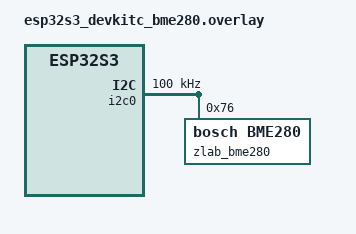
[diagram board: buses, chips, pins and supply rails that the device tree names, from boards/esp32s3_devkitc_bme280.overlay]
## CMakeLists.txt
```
# SPDX-License-Identifier: Apache-2.0
cmake_minimum_required(VERSION 3.20.0)
find_package(Zephyr REQUIRED HINTS $ENV{ZEPHYR_BASE})
project(zlab_zephyr_health_node)

target_include_directories(app PRIVATE include)
target_sources(app PRIVATE
  src/main.c
  src/anomaly_detector.c
)
```

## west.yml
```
manifest:
  remotes:
    - name: zephyrproject
      url-base: https://github.com/zephyrproject-rtos
  projects:
    - name: zephyr
      remote: zephyrproject
      revision: v4.4.2
      import: true
  self:
    path: app
```

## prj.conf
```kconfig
CONFIG_ASSERT=y
CONFIG_LOG=y
CONFIG_LOG_MODE_DEFERRED=y
CONFIG_LOG_DEFAULT_LEVEL=3
CONFIG_THREAD_NAME=y

CONFIG_SERIAL=y
CONFIG_CONSOLE=y
CONFIG_UART_CONSOLE=y
CONFIG_SHELL=y
CONFIG_SHELL_BACKEND_SERIAL=y
CONFIG_SHELL_STACK_SIZE=3072

CONFIG_SENSOR=y
CONFIG_I2C=y
CONFIG_BME280=y

CONFIG_TASK_WDT=y
CONFIG_WATCHDOG=y
CONFIG_REBOOT=y

CONFIG_MAIN_STACK_SIZE=2048
CONFIG_SYSTEM_WORKQUEUE_STACK_SIZE=2048
CONFIG_HEAP_MEM_POOL_SIZE=2048
```

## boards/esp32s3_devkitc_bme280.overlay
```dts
// SPDX-License-Identifier: Apache-2.0
#include <zephyr/dt-bindings/pinctrl/esp-pinctrl-common.h>
#include <zephyr/dt-bindings/pinctrl/esp32s3-pinctrl.h>
#include <zephyr/dt-bindings/pinctrl/esp32s3-gpio-sigmap.h>

/ {
  aliases {
    env-sensor = &zlab_bme280;
  };
};

&pinctrl {
  zlab_i2c0: zlab_i2c0 {
    group1 {
      pinmux = <I2C0_SDA_GPIO8>, <I2C0_SCL_GPIO9>;
      bias-pull-up;
      drive-open-drain;
      output-high;
    };
  };
};

&i2c0 {
  status = "okay";
  clock-frequency = <I2C_BITRATE_STANDARD>;
  pinctrl-0 = <&zlab_i2c0>;
  pinctrl-names = "default";

  zlab_bme280: bme280@76 {
    compatible = "bosch,bme280";
    reg = <0x76>;
    status = "okay";
  };
};
```

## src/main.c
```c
// SPDX-License-Identifier: Apache-2.0
#include "anomaly_detector.h"

#include <errno.h>
#include <inttypes.h>
#include <stdlib.h>
#include <string.h>

#include <zephyr/device.h>
#include <zephyr/drivers/gpio.h>
#include <zephyr/drivers/sensor.h>
#include <zephyr/drivers/watchdog.h>
#include <zephyr/kernel.h>
#include <zephyr/logging/log.h>
#include <zephyr/shell/shell.h>
#include <zephyr/task_wdt/task_wdt.h>

LOG_MODULE_REGISTER(zlab_health, LOG_LEVEL_INF);

#define RAW_QUEUE_DEPTH 16
#define EVENT_QUEUE_DEPTH 16
#define SAMPLER_STACK_SIZE 2048
#define ANALYZER_STACK_SIZE 2048
#define REPORTER_STACK_SIZE 2048
#define THREAD_PRIORITY 5

struct health_sample {
  uint32_t sequence;
  int64_t uptime_ms;
  int32_t temperature_mc;
  int32_t humidity_mpercent;
  int32_t pressure_pa;
  bool simulated;
  bool injected;
};

struct health_event {
  struct health_sample sample;
  struct detector_result detection;
};

struct runtime_stats {
  struct health_sample latest;
  struct detector_result detection;
  uint32_t raw_dropped;
  uint32_t event_dropped;
  uint32_t sensor_errors;
  uint32_t analyzed;
  bool has_sample;
};

K_MSGQ_DEFINE(raw_queue, sizeof(struct health_sample), RAW_QUEUE_DEPTH, 4);
K_MSGQ_DEFINE(event_queue, sizeof(struct health_event), EVENT_QUEUE_DEPTH, 4);
K_MUTEX_DEFINE(state_lock);

static struct runtime_stats s_stats;
static struct anomaly_detector s_detector;
static atomic_t s_sample_interval_ms = ATOMIC_INIT(5000);
static atomic_t s_manual_fast_mode;
static atomic_t s_injected_sequence = ATOMIC_INIT(1000000);

#if DT_NODE_HAS_STATUS_OKAY(DT_ALIAS(env_sensor))
static const struct device *const s_sensor = DEVICE_DT_GET(DT_ALIAS(env_sensor));
#define ZLAB_HAS_ENV_SENSOR 1
#else
static const struct device *const s_sensor;
#define ZLAB_HAS_ENV_SENSOR 0
#endif

#if DT_NODE_HAS_PROP(DT_ALIAS(sw0), gpios)
static const struct gpio_dt_spec s_button = GPIO_DT_SPEC_GET(DT_ALIAS(sw0), gpios);
static struct gpio_callback s_button_callback;
#define ZLAB_HAS_BUTTON 1
#else
#define ZLAB_HAS_BUTTON 0
#endif

static int32_t triangular_wave(uint32_t sequence, uint32_t period, int32_t amplitude) {
  const uint32_t phase = sequence % period;
  const uint32_t half = period / 2U;
  const int32_t centered = phase < half ? (int32_t)phase : (int32_t)(period - phase);
  return ((centered * 2 * amplitude) / (int32_t)half) - amplitude;
}

static void make_simulated_sample(struct health_sample *sample) {
  sample->temperature_mc = 24000 + triangular_wave(sample->sequence, 80U, 1200);
  sample->humidity_mpercent = 52000 + triangular_wave(sample->sequence, 120U, 7000);
  sample->pressure_pa = 101300 + triangular_wave(sample->sequence, 200U, 350);
  sample->simulated = true;
}

static int read_environment(struct health_sample *sample) {
#if ZLAB_HAS_ENV_SENSOR
  if (!device_is_ready(s_sensor)) return -ENODEV;
  struct sensor_value temperature;
  struct sensor_value humidity;
  struct sensor_value pressure;
  int error = sensor_sample_fetch(s_sensor);
  if (error != 0) return error;
  error = sensor_channel_get(s_sensor, SENSOR_CHAN_AMBIENT_TEMP, &temperature);
  if (error != 0) return error;
  error = sensor_channel_get(s_sensor, SENSOR_CHAN_HUMIDITY, &humidity);
  if (error != 0) return error;
  error = sensor_channel_get(s_sensor, SENSOR_CHAN_PRESS, &pressure);
  if (error != 0) return error;
  sample->temperature_mc = (int32_t)sensor_value_to_milli(&temperature);
  sample->humidity_mpercent = (int32_t)sensor_value_to_milli(&humidity);
  sample->pressure_pa = (int32_t)sensor_value_to_milli(&pressure);
  sample->simulated = false;
  return 0;
#else
  ARG_UNUSED(sample);
  return -ENODEV;
#endif
}

static int add_thread_watchdog(void) {
  const int channel = task_wdt_add(70000U, NULL, NULL);
  if (channel < 0) LOG_WRN("task watchdog channel unavailable: %d", channel);
  return channel;
}

static void feed_thread_watchdog(int channel) {
  if (channel >= 0) (void)task_wdt_feed(channel);
}

static void sampler_thread(void *first, void *second, void *third) {
  ARG_UNUSED(first);
  ARG_UNUSED(second);
  ARG_UNUSED(third);
  int watchdog = add_thread_watchdog();
  uint32_t sequence = 0U;
  for (;;) {
    struct health_sample sample = {
        .sequence = ++sequence,
        .uptime_ms = k_uptime_get(),
    };
    const int error = read_environment(&sample);
    if (error != 0) {
      make_simulated_sample(&sample);
      k_mutex_lock(&state_lock, K_FOREVER);
      s_stats.sensor_errors++;
      k_mutex_unlock(&state_lock);
    }
    if (k_msgq_put(&raw_queue, &sample, K_NO_WAIT) != 0) {
      k_mutex_lock(&state_lock, K_FOREVER);
      s_stats.raw_dropped++;
      k_mutex_unlock(&state_lock);
    }
    feed_thread_watchdog(watchdog);
    const int32_t interval = atomic_get(&s_manual_fast_mode) != 0 ? 500 :
                             atomic_get(&s_sample_interval_ms);
    k_sleep(K_MSEC(interval));
  }
}

static void analyzer_thread(void *first, void *second, void *third) {
  ARG_UNUSED(first);
  ARG_UNUSED(second);
  ARG_UNUSED(third);
  int watchdog = add_thread_watchdog();
  for (;;) {
    struct health_sample sample;
    k_msgq_get(&raw_queue, &sample, K_FOREVER);

    k_mutex_lock(&state_lock, K_FOREVER);
    const struct detector_result result = anomaly_detector_process(
        &s_detector, sample.temperature_mc, sample.humidity_mpercent);
    s_stats.latest = sample;
    s_stats.detection = result;
    s_stats.analyzed++;
    s_stats.has_sample = true;
    k_mutex_unlock(&state_lock);

    atomic_set(&s_sample_interval_ms, result.state == HEALTH_ALERT ? 1000 : 5000);
    const struct health_event event = {.sample = sample, .detection = result};
    if (k_msgq_put(&event_queue, &event, K_NO_WAIT) != 0) {
      k_mutex_lock(&state_lock, K_FOREVER);
      s_stats.event_dropped++;
      k_mutex_unlock(&state_lock);
    }
    feed_thread_watchdog(watchdog);
  }
}

static void reporter_thread(void *first, void *second, void *third) {
  ARG_UNUSED(first);
  ARG_UNUSED(second);
  ARG_UNUSED(third);
  int watchdog = add_thread_watchdog();
  for (;;) {
    struct health_event event;
    k_msgq_get(&event_queue, &event, K_FOREVER);
    if (event.detection.state_changed) {
      LOG_WRN("state transition -> %s", health_state_name(event.detection.state));
    }
    LOG_INF("seq=%" PRIu32 " t=%" PRId32 "mC rh=%" PRId32
            "m%% p=%" PRId32 "Pa state=%s dev=%" PRId32 "mC%s%s",
            event.sample.sequence, event.sample.temperature_mc,
            event.sample.humidity_mpercent, event.sample.pressure_pa,
            health_state_name(event.detection.state),
            event.detection.temperature_deviation_mc,
            event.sample.simulated ? " simulated" : "",
            event.sample.injected ? " injected" : "");
    feed_thread_watchdog(watchdog);
  }
}

K_THREAD_DEFINE(sampler_id, SAMPLER_STACK_SIZE, sampler_thread, NULL, NULL, NULL,
                THREAD_PRIORITY, 0, -1);
K_THREAD_DEFINE(analyzer_id, ANALYZER_STACK_SIZE, analyzer_thread, NULL, NULL, NULL,
                THREAD_PRIORITY, 0, -1);
K_THREAD_DEFINE(reporter_id, REPORTER_STACK_SIZE, reporter_thread, NULL, NULL, NULL,
                THREAD_PRIORITY, 0, -1);

#if ZLAB_HAS_BUTTON
static void button_pressed(const struct device *port, struct gpio_callback *callback,
                           gpio_port_pins_t pins) {
  ARG_UNUSED(port);
  ARG_UNUSED(callback);
  ARG_UNUSED(pins);
  atomic_xor(&s_manual_fast_mode, 1);
}

static void button_init(void) {
  if (!gpio_is_ready_dt(&s_button)) {
    LOG_WRN("button GPIO is not ready");
    return;
  }
  if (gpio_pin_configure_dt(&s_button, GPIO_INPUT) != 0 ||
      gpio_pin_interrupt_configure_dt(&s_button, GPIO_INT_EDGE_TO_ACTIVE) != 0) {
    LOG_WRN("button configuration failed");
    return;
  }
  gpio_init_callback(&s_button_callback, button_pressed, BIT(s_button.pin));
  (void)gpio_add_callback(s_button.port, &s_button_callback);
}
#else
static void button_init(void) {}
#endif

static bool parse_i32(const char *text, int32_t minimum, int32_t maximum, int32_t *value) {
  if (text == NULL || value == NULL) return false;
  char *end = NULL;
  const long parsed = strtol(text, &end, 0);
  if (*text == '\0' || *end != '\0' || parsed < minimum || parsed > maximum) return false;
  *value = (int32_t)parsed;
  return true;
}

static int command_zhealth(const struct shell *shell, size_t argc, char **argv) {
  if (strcmp(argv[1], "status") == 0) {
    struct runtime_stats stats;
    k_mutex_lock(&state_lock, K_FOREVER);
    stats = s_stats;
    k_mutex_unlock(&state_lock);
    shell_print(shell, "state=%s analyzed=%" PRIu32 " interval=%ldms fast=%s",
                health_state_name(stats.detection.state), stats.analyzed,
                (long)atomic_get(&s_sample_interval_ms),
                atomic_get(&s_manual_fast_mode) != 0 ? "on" : "off");
    shell_print(shell, "raw_dropped=%" PRIu32 " event_dropped=%" PRIu32
                " sensor_fallbacks=%" PRIu32,
                stats.raw_dropped, stats.event_dropped, stats.sensor_errors);
    if (stats.has_sample) {
      shell_print(shell, "latest: t=%" PRId32 "mC rh=%" PRId32 "m%% p=%" PRId32 "Pa%s",
                  stats.latest.temperature_mc, stats.latest.humidity_mpercent,
                  stats.latest.pressure_pa, stats.latest.simulated ? " simulated" : "");
    }
    return 0;
  }
  if (strcmp(argv[1], "config") == 0 && argc == 5U) {
    int32_t interval;
    int32_t temperature_delta_c;
    int32_t humidity_limit;
    if (!parse_i32(argv[2], 250, 60000, &interval) ||
        !parse_i32(argv[3], 1, 20, &temperature_delta_c) ||
        !parse_i32(argv[4], 20, 100, &humidity_limit)) {
      shell_error(shell, "usage: zhealth config INTERVAL_MS TEMP_DELTA_C HUMIDITY_LIMIT");
      return -EINVAL;
    }
    k_mutex_lock(&state_lock, K_FOREVER);
    s_detector.config.temperature_delta_mc = temperature_delta_c * 1000;
    s_detector.config.humidity_limit_mpercent = humidity_limit * 1000;
    k_mutex_unlock(&state_lock);
    atomic_set(&s_sample_interval_ms, interval);
    shell_print(shell, "configuration updated");
    return 0;
  }
  if (strcmp(argv[1], "inject") == 0 && argc == 4U) {
    int32_t temperature_c;
    int32_t humidity_percent;
    if (!parse_i32(argv[2], -40, 125, &temperature_c) ||
        !parse_i32(argv[3], 0, 100, &humidity_percent)) {
      shell_error(shell, "usage: zhealth inject TEMP_C HUMIDITY_PERCENT");
      return -EINVAL;
    }
    struct health_sample sample = {
        .sequence = (uint32_t)atomic_inc(&s_injected_sequence),
        .uptime_ms = k_uptime_get(),
        .temperature_mc = temperature_c * 1000,
        .humidity_mpercent = humidity_percent * 1000,
        .pressure_pa = 101325,
        .injected = true,
    };
    if (k_msgq_put(&raw_queue, &sample, K_NO_WAIT) != 0) {
      shell_error(shell, "raw queue is full");
      return -ENOBUFS;
    }
    shell_print(shell, "test sample queued");
    return 0;
  }
  if (strcmp(argv[1], "fast") == 0) {
    atomic_xor(&s_manual_fast_mode, 1);
    shell_print(shell, "manual fast mode=%s",
                atomic_get(&s_manual_fast_mode) != 0 ? "on" : "off");
    return 0;
  }
  shell_error(shell, "usage: zhealth status | config MS DELTA_C HUMIDITY | inject C RH | fast");
  return -EINVAL;
}

SHELL_CMD_ARG_REGISTER(zhealth, NULL,
                       "health pipeline: status | config MS DELTA_C HUMIDITY | inject C RH | fast",
                       command_zhealth, 2, 3);

int main(void) {
  const struct detector_config config = {
      .temperature_delta_mc = 2000,
      .humidity_limit_mpercent = 85000,
      .ewma_alpha_permille = 200,
      .calibration_samples = 5,
      .alert_samples = 2,
      .recovery_samples = 5,
  };
  anomaly_detector_init(&s_detector, &config);
  button_init();

  const struct device *watchdog = DEVICE_DT_GET_OR_NULL(DT_ALIAS(watchdog0));
  if (!device_is_ready(watchdog)) watchdog = NULL;
  const int watchdog_error = task_wdt_init(watchdog);
  if (watchdog_error != 0) LOG_WRN("task watchdog init failed: %d", watchdog_error);

  k_thread_start(sampler_id);
  k_thread_start(analyzer_id);
  k_thread_start(reporter_id);
  LOG_INF("ZLab Zephyr health node started; sensor=%s",
          ZLAB_HAS_ENV_SENSOR && device_is_ready(s_sensor) ? "BME280" : "simulated");
  LOG_INF("shell: zhealth status | config | inject | fast");
  return 0;
}
```

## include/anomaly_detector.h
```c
// SPDX-License-Identifier: Apache-2.0
#pragma once

#include <stdbool.h>
#include <stdint.h>

enum health_state {
  HEALTH_CALIBRATING,
  HEALTH_NORMAL,
  HEALTH_ALERT,
};

struct detector_config {
  int32_t temperature_delta_mc;
  int32_t humidity_limit_mpercent;
  uint16_t ewma_alpha_permille;
  uint8_t calibration_samples;
  uint8_t alert_samples;
  uint8_t recovery_samples;
};

struct anomaly_detector {
  struct detector_config config;
  enum health_state state;
  int32_t temperature_ewma_mc;
  uint32_t sample_count;
  uint8_t abnormal_streak;
  uint8_t normal_streak;
  bool initialized;
};

struct detector_result {
  enum health_state state;
  int32_t temperature_ewma_mc;
  int32_t temperature_deviation_mc;
  bool state_changed;
  bool abnormal;
};

void anomaly_detector_init(struct anomaly_detector *detector,
                           const struct detector_config *config);
struct detector_result anomaly_detector_process(struct anomaly_detector *detector,
                                                int32_t temperature_mc,
                                                int32_t humidity_mpercent);
const char *health_state_name(enum health_state state);
```

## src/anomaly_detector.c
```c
// SPDX-License-Identifier: Apache-2.0
#include "anomaly_detector.h"

#include <stddef.h>
#include <stdlib.h>

static struct detector_config sanitize_config(const struct detector_config *config) {
  struct detector_config result = {
      .temperature_delta_mc = 2000,
      .humidity_limit_mpercent = 85000,
      .ewma_alpha_permille = 200,
      .calibration_samples = 5,
      .alert_samples = 2,
      .recovery_samples = 5,
  };
  if (config == NULL) return result;
  if (config->temperature_delta_mc > 0) result.temperature_delta_mc = config->temperature_delta_mc;
  if (config->humidity_limit_mpercent > 0) result.humidity_limit_mpercent = config->humidity_limit_mpercent;
  if (config->ewma_alpha_permille > 0U && config->ewma_alpha_permille <= 1000U) {
    result.ewma_alpha_permille = config->ewma_alpha_permille;
  }
  if (config->calibration_samples > 0U) result.calibration_samples = config->calibration_samples;
  if (config->alert_samples > 0U) result.alert_samples = config->alert_samples;
  if (config->recovery_samples > 0U) result.recovery_samples = config->recovery_samples;
  return result;
}

void anomaly_detector_init(struct anomaly_detector *detector,
                           const struct detector_config *config) {
  if (detector == NULL) return;
  *detector = (struct anomaly_detector){
      .config = sanitize_config(config),
      .state = HEALTH_CALIBRATING,
  };
}

struct detector_result anomaly_detector_process(struct anomaly_detector *detector,
                                                int32_t temperature_mc,
                                                int32_t humidity_mpercent) {
  struct detector_result result = {0};
  if (detector == NULL) return result;

  const enum health_state previous_state = detector->state;
  if (!detector->initialized) {
    detector->temperature_ewma_mc = temperature_mc;
    detector->initialized = true;
  }
  const int32_t deviation = abs(temperature_mc - detector->temperature_ewma_mc);
  const bool abnormal = deviation >= detector->config.temperature_delta_mc ||
                        humidity_mpercent >= detector->config.humidity_limit_mpercent;

  const int64_t alpha = detector->config.ewma_alpha_permille;
  detector->temperature_ewma_mc = (int32_t)(((1000 - alpha) * detector->temperature_ewma_mc +
                                              alpha * temperature_mc) / 1000);
  detector->sample_count++;

  if (detector->state == HEALTH_CALIBRATING) {
    if (detector->sample_count >= detector->config.calibration_samples) {
      detector->state = HEALTH_NORMAL;
    }
  } else if (abnormal) {
    detector->normal_streak = 0U;
    if (detector->abnormal_streak < UINT8_MAX) detector->abnormal_streak++;
    if (detector->abnormal_streak >= detector->config.alert_samples) {
      detector->state = HEALTH_ALERT;
    }
  } else {
    detector->abnormal_streak = 0U;
    if (detector->normal_streak < UINT8_MAX) detector->normal_streak++;
    if (detector->state == HEALTH_ALERT &&
        detector->normal_streak >= detector->config.recovery_samples) {
      detector->state = HEALTH_NORMAL;
    }
  }

  result.state = detector->state;
  result.temperature_ewma_mc = detector->temperature_ewma_mc;
  result.temperature_deviation_mc = deviation;
  result.state_changed = detector->state != previous_state;
  result.abnormal = abnormal;
  return result;
}

const char *health_state_name(enum health_state state) {
  switch (state) {
    case HEALTH_CALIBRATING: return "CALIBRATING";
    case HEALTH_NORMAL: return "NORMAL";
    case HEALTH_ALERT: return "ALERT";
    default: return "UNKNOWN";
  }
}
```
